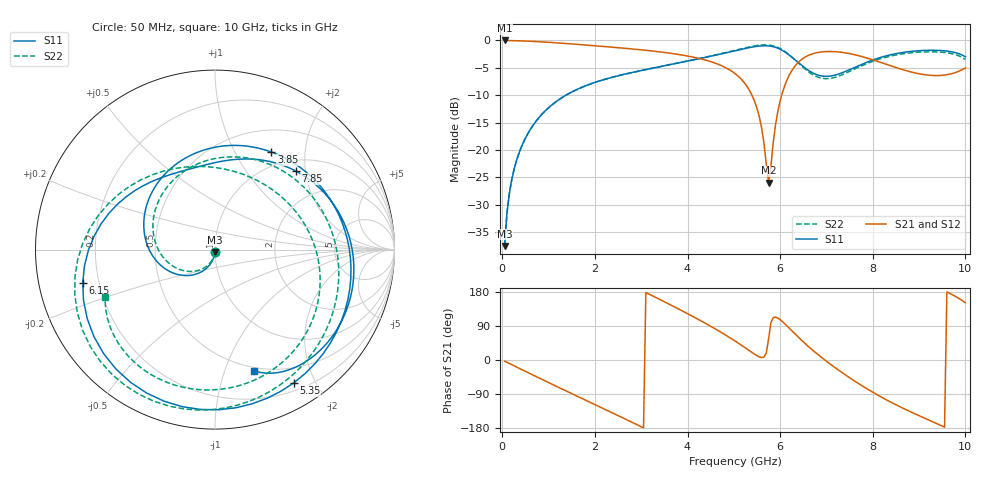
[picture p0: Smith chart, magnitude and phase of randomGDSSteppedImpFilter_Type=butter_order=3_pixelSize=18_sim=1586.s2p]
! freq	dB(S11)	phase(S11)	dB(S12)	phase(S12)
!  dB(S21)	phase(S21)	dB(S22)	phase(S22)
!S-par simulation data
#  GHz  S  DB  R 50
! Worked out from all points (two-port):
!   200 points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, 50 MHz to 10 GHz, reference 50 ohm
!   highest |S21| = -0.01 dB at 50 MHz (marker M1); lowest = -25.9 dB at 5.75 GHz (marker M2)
!   |S21| within 3 dB of the highest: start of sweep to 4.098 GHz; 6.547 GHz to 7.791 GHz (1.244 GHz wide, 17.4 % of centre)
!   lowest |S11| = -37.5 dB at 50 MHz (marker M3), VSWR 1.03, Z = 49.9 - j1.33 ohm
!   |S11| at or under -10 dB: start of sweep to 1.373 GHz
!   |S22| runs from -37.5 to -0.8 dB; largest |S21 - S12| = 0
!   S11 on the Smith chart (normalised r, x): 50 MHz: 1.00, -0.03; 3.85 GHz: 0.79, +1.42; 5.35 GHz: 0.30, -1.72; 6.15 GHz: 0.14, -0.12; 7.85 GHz: 1.22, +1.77; 10 GHz: 0.47, -1.26
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0.05  -37.53 -92.3  -0.01 -3.1  -0.01 -3.1  -37.54 -92.9
0.2  -25.59 -101.0  -0.03 -12.1  -0.03 -12.1  -25.60 -103.2
0.5  -17.82 -117.8  -0.11 -30.0  -0.11 -30.0  -17.83 -123.3
1.15  -11.24 -152.6  -0.43 -68.4  -0.43 -68.4  -11.25 -165.6
1.75  -8.44 176.1  -0.80 -103.2  -0.80 -103.2  -8.45 156.0
2.6  -6.24 131.8  -1.40 -152.5  -1.40 -152.5  -6.25 101.7
3.4  -4.80 87.4  -2.09 159.8  -2.09 159.8  -4.80 51.0
3.85  -4.04 60.0  -2.62 131.9  -2.62 131.9  -4.02 22.7
4.45  -2.99 19.3  -3.74 92.5  -3.74 92.5  -2.94 -15.4
5.05  -1.84 -29.5  -6.21 48.2  -6.21 48.2  -1.74 -57.1
5.35  -1.29 -59.4  -9.31 23.4  -9.31 23.4  -1.15 -81.8
5.6  -0.99 -88.6  -15.97 6.5  -15.97 6.5  -0.83 -106.4
5.75  -1.00 -108.4  -25.95 55.4  -25.95 55.4  -0.84 -123.5
5.95  -1.42 -137.0  -12.95 110.7  -12.95 110.7  -1.28 -148.7
6.15  -2.39 -166.0  -7.16 89.7  -7.16 89.7  -2.30 -175.8
6.4  -4.10 160.9  -3.94 59.3  -3.94 59.3  -4.17 150.0
6.7  -5.91 129.1  -2.44 26.1  -2.44 26.1  -6.22 109.6
7.15  -6.40 93.6  -2.03 -17.0  -2.03 -17.0  -6.82 51.9
7.85  -4.05 44.4  -3.15 -74.2  -3.15 -74.2  -4.30 -15.9
8.35  -2.69 11.8  -4.53 -108.8  -4.53 -108.8  -2.93 -51.9
9.25  -1.80 -36.7  -6.37 -160.6  -6.37 -160.6  -2.08 -105.0
10  -2.99 -72.2  -5.02 151.0  -5.02 151.0  -3.50 -156.5
